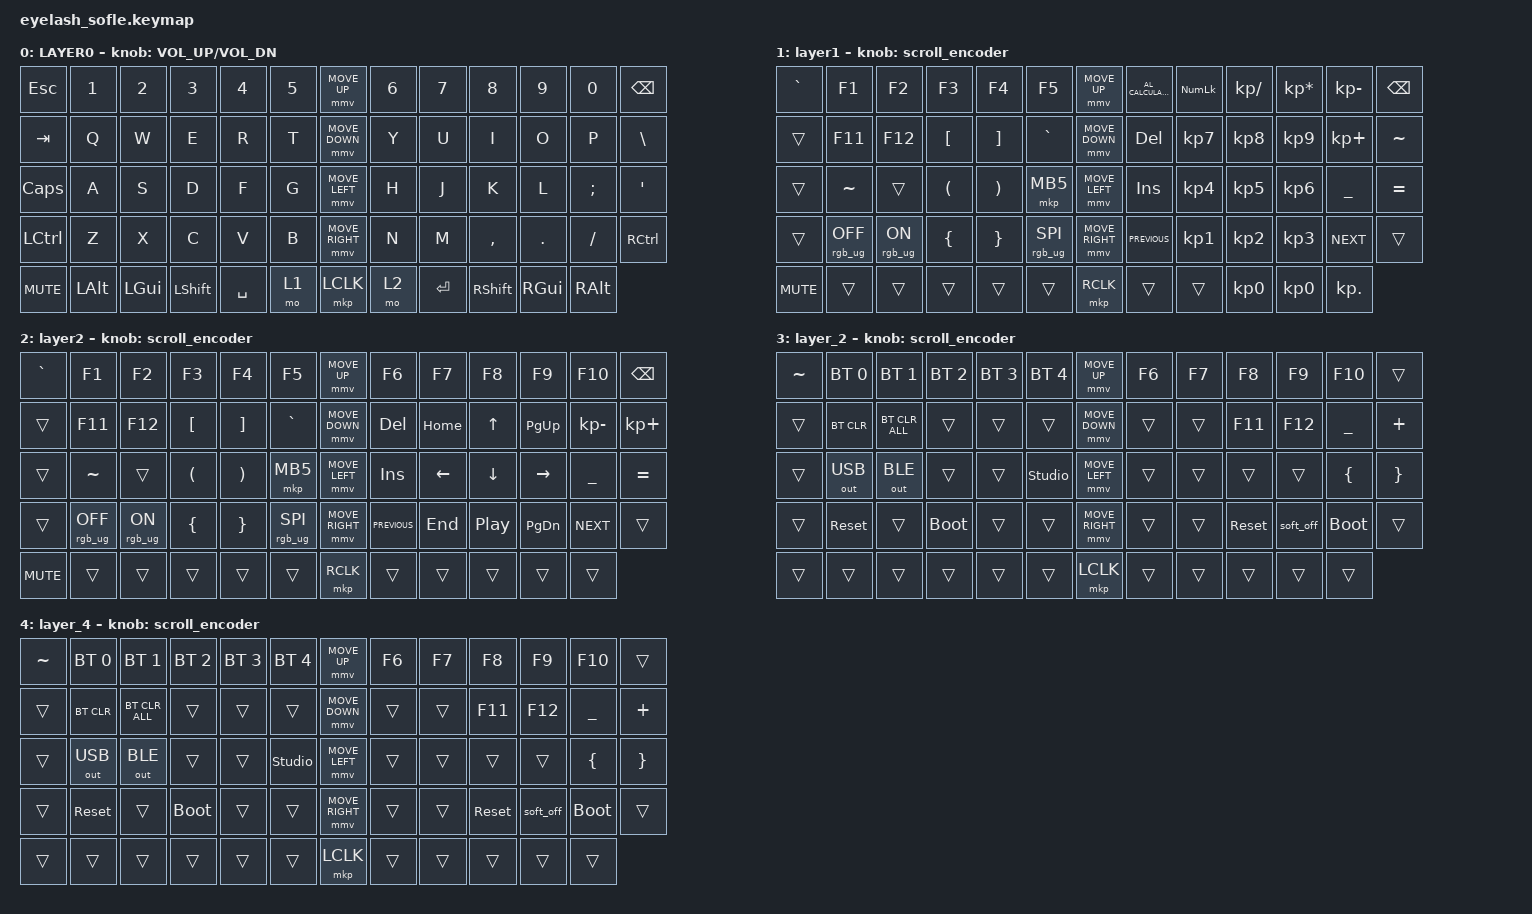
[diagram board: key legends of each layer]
#define ZMK_POINTING_DEFAULT_MOVE_VAL 1200  // 600
#define ZMK_POINTING_DEFAULT_SCRL_VAL 25   // 10

#include <input/processors.dtsi>
#include <zephyr/dt-bindings/input/input-event-codes.h>
#include <behaviors.dtsi>
#include <dt-bindings/zmk/bt.h>
#include <dt-bindings/zmk/keys.h>
#include <dt-bindings/zmk/outputs.h>
#include <dt-bindings/zmk/pointing.h>
#include <dt-bindings/zmk/rgb.h>

&mmv_input_listener { input-processors = <&zip_xy_scaler 2 1>; };

&msc_input_listener { input-processors = <&zip_scroll_scaler 2 1>; };

&msc {
    acceleration-exponent = <1>;      // 0
    time-to-max-speed-ms = <100>;       // 300
    delay-ms = <0>;                   // 0
};

&mmv {
    time-to-max-speed-ms = <500>;
    acceleration-exponent = <1>;
    trigger-period-ms = <16>;
};

/ {
    scroll_encoder: scroll_encoder {
        compatible = "zmk,behavior-sensor-rotate";
        #sensor-binding-cells = <0>;
        bindings = <&msc SCRL_DOWN>, <&msc SCRL_UP>;

        tap-ms = <100>;
    };

    behaviors {
    };

    keymap {
        compatible = "zmk,keymap";

        base {
            bindings = <
&kp ESC     &kp N1        &kp N2        &kp N3     &kp N4     &kp N5    &mmv MOVE_UP     &kp N6  &kp N7     &kp N8     &kp N9    &kp N0         &kp BACKSPACE
&kp TAB     &kp Q         &kp W         &kp E      &kp R      &kp T     &mmv MOVE_DOWN   &kp Y   &kp U      &kp I      &kp O     &kp P          &kp BSLH
&kp CAPS    &kp A         &kp S         &kp D      &kp F      &kp G     &mmv MOVE_LEFT   &kp H   &kp J      &kp K      &kp L     &kp SEMI       &kp APOS
&kp LCTRL   &kp Z         &kp X         &kp C      &kp V      &kp B     &mmv MOVE_RIGHT  &kp N   &kp M      &kp COMMA  &kp DOT   &kp FSLH       &kp RCTRL
&kp C_MUTE  &kp LEFT_ALT  &kp LEFT_GUI  &kp LSHFT  &kp SPACE  &mo 1     &mkp LCLK        &mo 2   &kp ENTER  &kp RSHFT  &kp RGUI  &kp RIGHT_ALT
            >;

            sensor-bindings = <&inc_dec_kp C_VOLUME_UP C_VOL_DN>;
            display-name = "LAYER0";
        };

        sim_num {
            bindings = <
&kp GRAVE   &kp F1           &kp F2          &kp F3            &kp F4                 &kp F5             &mmv MOVE_UP     &kp C_AL_CALCULATOR  &kp KP_NUMLOCK   &kp KP_DIVIDE    &kp KP_MULTIPLY  &kp KP_SUBTRACT  &kp BACKSPACE
&trans      &kp F11          &kp F12         &kp LEFT_BRACKET  &kp RIGHT_BRACKET      &kp GRAVE          &mmv MOVE_DOWN   &kp DELETE           &kp KP_N7        &kp KP_NUMBER_8  &kp KP_NUMBER_9  &kp KP_PLUS      &kp TILDE
&trans      &kp TILDE        &trans          &kp LPAR          &kp RIGHT_PARENTHESIS  &mkp MB5           &mmv MOVE_LEFT   &kp INS              &kp KP_NUMBER_4  &kp KP_NUMBER_5  &kp KP_NUMBER_6  &kp UNDER        &kp EQUAL
&trans      &rgb_ug RGB_OFF  &rgb_ug RGB_ON  &kp LEFT_BRACE    &kp RIGHT_BRACE        &rgb_ug RGB_SPI    &mmv MOVE_RIGHT  &kp C_PREVIOUS       &kp KP_NUMBER_1  &kp KP_NUMBER_2  &kp KP_NUMBER_3  &kp C_NEXT       &trans
&kp C_MUTE  &trans           &trans          &trans            &trans                 &trans             &mkp RCLK        &trans               &trans           &kp KP_NUMBER_0  &kp KP_NUMBER_0  &kp KP_DOT
            >;

            display-name = "layer1";
            sensor-bindings = <&scroll_encoder>;
        };

        nav {
            display-name = "layer2";
            bindings = <
&kp GRAVE   &kp F1           &kp F2          &kp F3            &kp F4                 &kp F5             &mmv MOVE_UP     &kp F6          &kp F7    &kp F8            &kp F9         &kp F10       &kp BACKSPACE
&trans      &kp F11          &kp F12         &kp LEFT_BRACKET  &kp RIGHT_BRACKET      &kp GRAVE          &mmv MOVE_DOWN   &kp DELETE      &kp HOME  &kp UP_ARROW      &kp PAGE_UP    &kp KP_MINUS  &kp KP_PLUS
&trans      &kp TILDE        &trans          &kp LPAR          &kp RIGHT_PARENTHESIS  &mkp MB5           &mmv MOVE_LEFT   &kp INS         &kp LEFT  &kp DOWN_ARROW    &kp RIGHT      &kp UNDER     &kp EQUAL
&trans      &rgb_ug RGB_OFF  &rgb_ug RGB_ON  &kp LEFT_BRACE    &kp RIGHT_BRACE        &rgb_ug RGB_SPI    &mmv MOVE_RIGHT  &kp C_PREVIOUS  &kp END   &kp C_PLAY_PAUSE  &kp PAGE_DOWN  &kp C_NEXT    &trans
&kp C_MUTE  &trans           &trans          &trans            &trans                 &trans             &mkp RCLK        &trans          &trans    &trans            &trans         &trans
            >;

            sensor-bindings = <&scroll_encoder>;
        };

        layer_2 {
            bindings = <
&kp TILDE  &bt BT_SEL 0  &bt BT_SEL 1    &bt BT_SEL 2  &bt BT_SEL 3  &bt BT_SEL 4      &mmv MOVE_UP     &kp F6  &kp F7  &kp F8      &kp F9     &kp F10      &trans
&trans     &bt BT_CLR    &bt BT_CLR_ALL  &trans        &trans        &trans            &mmv MOVE_DOWN   &trans  &trans  &kp F11     &kp F12    &kp UNDER    &kp PLUS
&trans     &out OUT_USB  &out OUT_BLE    &trans        &trans        &studio_unlock    &mmv MOVE_LEFT   &trans  &trans  &trans      &trans     &kp LBRC     &kp RBRC
&trans     &sys_reset    &trans          &bootloader   &trans        &trans            &mmv MOVE_RIGHT  &trans  &trans  &sys_reset  &soft_off  &bootloader  &trans
&trans     &trans        &trans          &trans        &trans        &trans            &mkp LCLK        &trans  &trans  &trans      &trans     &trans
            >;

            sensor-bindings = <&scroll_encoder>;
        };

        layer_4 {
            bindings = <
&kp TILDE  &bt BT_SEL 0  &bt BT_SEL 1    &bt BT_SEL 2  &bt BT_SEL 3  &bt BT_SEL 4      &mmv MOVE_UP     &kp F6  &kp F7  &kp F8      &kp F9     &kp F10      &trans
&trans     &bt BT_CLR    &bt BT_CLR_ALL  &trans        &trans        &trans            &mmv MOVE_DOWN   &trans  &trans  &kp F11     &kp F12    &kp UNDER    &kp PLUS
&trans     &out OUT_USB  &out OUT_BLE    &trans        &trans        &studio_unlock    &mmv MOVE_LEFT   &trans  &trans  &trans      &trans     &kp LBRC     &kp RBRC
&trans     &sys_reset    &trans          &bootloader   &trans        &trans            &mmv MOVE_RIGHT  &trans  &trans  &sys_reset  &soft_off  &bootloader  &trans
&trans     &trans        &trans          &trans        &trans        &trans            &mkp LCLK        &trans  &trans  &trans      &trans     &trans
            >;

            sensor-bindings = <&scroll_encoder>;
        };
    };
};
